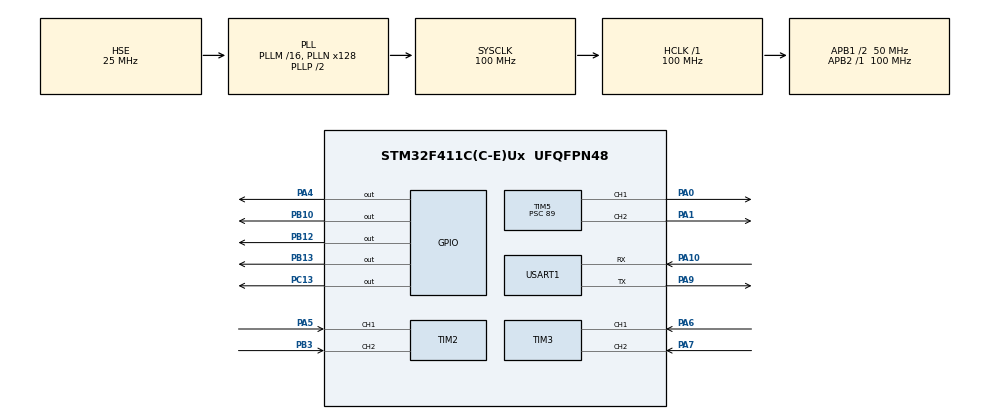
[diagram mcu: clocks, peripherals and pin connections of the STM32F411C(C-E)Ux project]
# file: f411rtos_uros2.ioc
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Dma.Request0=USART1_RX
Dma.Request1=USART1_TX
Dma.USART1_RX.0.Direction=DMA_PERIPH_TO_MEMORY
Dma.USART1_RX.0.FIFOMode=DMA_FIFOMODE_DISABLE
Dma.USART1_RX.0.Instance=DMA2_Stream2
Dma.USART1_RX.0.MemDataAlignment=DMA_MDATAALIGN_BYTE
Dma.USART1_RX.0.MemInc=DMA_MINC_ENABLE
Dma.USART1_RX.0.Mode=DMA_CIRCULAR
Dma.USART1_RX.0.PeriphDataAlignment=DMA_PDATAALIGN_BYTE
Dma.USART1_RX.0.PeriphInc=DMA_PINC_DISABLE
Dma.USART1_RX.0.Priority=DMA_PRIORITY_HIGH
Dma.USART1_TX.1.Direction=DMA_MEMORY_TO_PERIPH
Dma.USART1_TX.1.FIFOMode=DMA_FIFOMODE_DISABLE
Dma.USART1_TX.1.Instance=DMA2_Stream7
Dma.USART1_TX.1.MemDataAlignment=DMA_MDATAALIGN_BYTE
Dma.USART1_TX.1.MemInc=DMA_MINC_ENABLE
Dma.USART1_TX.1.Mode=DMA_NORMAL
Dma.USART1_TX.1.PeriphDataAlignment=DMA_PDATAALIGN_BYTE
Dma.USART1_TX.1.PeriphInc=DMA_PINC_DISABLE
Dma.USART1_TX.1.Priority=DMA_PRIORITY_HIGH
FREERTOS.Tasks01=defaultTask,24,128,StartDefaultTask,Default,NULL,Dynamic,NULL,NULL;rosTask,40,3000,StartRosTask,Default,NULL,Dynamic,NULL,NULL;motorTask,40,384,StartMotorTask,Default,NULL,Dynamic,NULL,NULL
FREERTOS.configUSE_NEWLIB_REENTRANT=1
Mcu.Family=STM32F4
Mcu.Name=STM32F411C(C-E)Ux
Mcu.Package=UFQFPN48
NVIC.DMA2_Stream2_IRQn=true\:5\:0\:false\:false\:true\:true\:false\:true\:true
NVIC.DMA2_Stream7_IRQn=true\:5\:0\:false\:false\:true\:true\:false\:true\:true
NVIC.PriorityGroup=NVIC_PRIORITYGROUP_4
NVIC.TIM1_UP_TIM10_IRQn=true\:15\:0\:false\:false\:true\:false\:false\:true\:true
NVIC.TimeBase=TIM1_UP_TIM10_IRQn
NVIC.TimeBaseIP=TIM1
NVIC.USART1_IRQn=true\:5\:0\:false\:false\:true\:true\:false\:true\:true
PA0-WKUP.Signal=S_TIM5_CH1
PA1.Signal=S_TIM5_CH2
PA10.Mode=Asynchronous
PA10.Signal=USART1_RX
PA13.Mode=Serial_Wire
PA13.Signal=SYS_JTMS-SWDIO
PA14.Mode=Serial_Wire
PA14.Signal=SYS_JTCK-SWCLK
PA4.Signal=GPIO_Output
PA5.Signal=S_TIM2_CH1_ETR
PA6.GPIO_PuPd=GPIO_PULLUP
PA6.Signal=S_TIM3_CH1
PA7.GPIO_PuPd=GPIO_PULLUP
PA7.Signal=S_TIM3_CH2
PA9.Mode=Asynchronous
PA9.Signal=USART1_TX
PB10.Signal=GPIO_Output
PB12.Signal=GPIO_Output
PB13.Signal=GPIO_Output
PB3.Signal=S_TIM2_CH2
PC13-ANTI_TAMP.Signal=GPIO_Output
PH0\ -\ OSC_IN.Mode=HSE-External-Oscillator
PH0\ -\ OSC_IN.Signal=RCC_OSC_IN
PH1\ -\ OSC_OUT.Mode=HSE-External-Oscillator
PH1\ -\ OSC_OUT.Signal=RCC_OSC_OUT
ProjectManager.HeapSize=0x200
ProjectManager.StackSize=0x400
ProjectManager.TargetToolchain=STM32CubeIDE
RCC.48MHZClocksFreq_Value=50000000
RCC.AHBFreq_Value=100000000
RCC.APB1CLKDivider=RCC_HCLK_DIV2
RCC.APB1Freq_Value=50000000
RCC.APB1TimFreq_Value=100000000
RCC.APB2Freq_Value=100000000
RCC.APB2TimFreq_Value=100000000
RCC.CortexFreq_Value=100000000
RCC.HCLKFreq_Value=100000000
RCC.HSE_VALUE=25000000
RCC.HSI_VALUE=16000000
RCC.LSE_VALUE=32768
RCC.PLLN=128
RCC.PLLSourceVirtual=RCC_PLLSOURCE_HSE
RCC.SYSCLKFreq_VALUE=100000000
RCC.SYSCLKSource=RCC_SYSCLKSOURCE_PLLCLK
RCC.VCOOutputFreq_Value=200000000
SH.S_TIM2_CH1_ETR.0=TIM2_CH1,Encoder_Interface
SH.S_TIM2_CH2.0=TIM2_CH2,Encoder_Interface
SH.S_TIM3_CH1.0=TIM3_CH1,Encoder_Interface
SH.S_TIM3_CH2.0=TIM3_CH2,Encoder_Interface
SH.S_TIM5_CH1.0=TIM5_CH1,PWM Generation1 CH1
SH.S_TIM5_CH2.0=TIM5_CH2,PWM Generation2 CH2
TIM2.EncoderMode=TIM_ENCODERMODE_TI12
TIM2.IC1Filter=5
TIM3.EncoderMode=TIM_ENCODERMODE_TI12
TIM3.IC1Filter=5
TIM5.Channel-PWM\ Generation1\ CH1=TIM_CHANNEL_1
TIM5.Channel-PWM\ Generation2\ CH2=TIM_CHANNEL_2
TIM5.OCFastMode_PWM-PWM\ Generation1\ CH1=TIM_OCFAST_ENABLE
TIM5.OCFastMode_PWM-PWM\ Generation2\ CH2=TIM_OCFAST_ENABLE
TIM5.Period=1999
TIM5.Prescaler=89
USART1.VirtualMode=VM_ASYNC
VP_FREERTOS_VS_CMSIS_V2.Mode=CMSIS_V2
VP_SYS_VS_tim1.Mode=TIM1
board=custom

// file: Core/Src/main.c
/* USER CODE BEGIN Header */
/**
  ******************************************************************************
  * @file           : main.c
  * @brief          : Main program body
  ******************************************************************************
  * @attention
  *
  * Copyright (c) 2026 STMicroelectronics.
  * All rights reserved.
  *
  * This software is licensed under terms that can be found in the LICENSE file
  * in the root directory of this software component.
  * If no LICENSE file comes with this software, it is provided AS-IS.
  *
  ******************************************************************************
  */
/* USER CODE END Header */
#include "main.h"
#include "cmsis_os.h"

/* USER CODE BEGIN Includes */

// micro-ros includes
#include <rcl/rcl.h>
#include <rcl/error_handling.h>
#include <rclc/rclc.h>
#include <rclc/executor.h>
#include <uxr/client/transport.h>
#include <rmw_microxrcedds_c/config.h>
#include <rmw_microros/rmw_microros.h>

//#include <rcutils/logging.h>
//#include <rcl/logging.h>

#include <std_msgs/msg/int32.h>
#include <geometry_msgs/msg/twist.h>

#include <std_msgs/msg/string.h>

/* USER CODE END Includes */

/* USER CODE BEGIN PD */

#define WHEEL_RADIUS   0.05f   // m
#define WHEEL_BASE     0.30f   // m
#define MAX_WHEEL_V    1.0f    // m/s

//#define PWM_MAX        1000
//#define PWM_MIN 	   300
#define PWM_MAX   (__HAL_TIM_GET_AUTORELOAD(&htim5))
#define PWM_MIN   (PWM_MAX * 3 / 10)

/* USER CODE END PD */

TIM_HandleTypeDef htim2;
TIM_HandleTypeDef htim3;
TIM_HandleTypeDef htim5;

UART_HandleTypeDef huart1;
DMA_HandleTypeDef hdma_usart1_rx;
DMA_HandleTypeDef hdma_usart1_tx;

/* Definitions for defaultTask */
osThreadId_t defaultTaskHandle;
const osThreadAttr_t defaultTask_attributes = {
  .name = "defaultTask",
  .stack_size = 128 * 4,
  .priority = (osPriority_t) osPriorityNormal,
};
/* Definitions for rosTask */
osThreadId_t rosTaskHandle;
const osThreadAttr_t rosTask_attributes = {
  .name = "rosTask",
  .stack_size = 3000 * 4,
  .priority = (osPriority_t) osPriorityHigh,
};
/* Definitions for motorTask */
osThreadId_t motorTaskHandle;
const osThreadAttr_t motorTask_attributes = {
  .name = "motorTask",
  .stack_size = 384 * 4,
  .priority = (osPriority_t) osPriorityHigh,
};
/* USER CODE BEGIN PV */

// micro-ros node
rcl_node_t node;

// micro-ros publisher
rcl_publisher_t publisher1;
rcl_publisher_t publisher2;
rcl_publisher_t publisher3;

// micro-ros subscriber
rcl_subscription_t cmd_vel_sub;
rclc_executor_t executor;
geometry_msgs__msg__Twist cmd_vel_msg;

static int32_t leticks = 0;
static int32_t reticks = 0;

typedef enum {
    MOTOR_STOP = 0,
    MOTOR_FWD,
    MOTOR_REV
} motor_dir_t;

typedef struct {
    motor_dir_t dir;
    uint16_t pwm;
} motor_cmd_t;

typedef struct {
    float v;   // m/s
    float w;   // rad/s
} cmd_vel_t;

//volatile float v_linear = 0.0f;
//volatile float v_angular = 0.0f;
volatile cmd_vel_t last_cmd_vel = {0};

motor_cmd_t cmdA, cmdB;

/* USER CODE END PV */

void SystemClock_Config(void);
static void MX_GPIO_Init(void);
static void MX_DMA_Init(void);
static void MX_USART1_UART_Init(void);
static void MX_TIM2_Init(void);
static void MX_TIM3_Init(void);
static void MX_TIM5_Init(void);
void StartDefaultTask(void *argument);
void StartRosTask(void *argument);
void StartMotorTask(void *argument);

/* USER CODE BEGIN PFP */

// micro-ros
bool cubemx_transport_open(struct uxrCustomTransport * transport);
bool cubemx_transport_close(struct uxrCustomTransport * transport);
size_t cubemx_transport_write(struct uxrCustomTransport* transport, const uint8_t * buf, size_t len, uint8_t * err);
size_t cubemx_transport_read(struct uxrCustomTransport* transport, uint8_t* buf, size_t len, int timeout, uint8_t* err);

void * microros_allocate(size_t size, void * state);
void microros_deallocate(void * pointer, void * state);
void * microros_reallocate(void * pointer, size_t size, void * state);
void * microros_zero_allocate(size_t number_of_elements, size_t size_of_element, void * state);

// micro-ros subscriber
void cmd_vel_callback(const void * msgin);

// bridge H
void motor_set_A(motor_dir_t dir, uint16_t pwm);
void motor_set_B(motor_dir_t dir, uint16_t pwm);

static inline void cmd_vel_to_wheels(const cmd_vel_t *cv, float *vL, float *vR);
static inline motor_cmd_t wheel_to_motor(float v, int inverted);

/* USER CODE END PFP */

/* USER CODE BEGIN 0 */

__attribute__((noinline)) void cmd_vel_callback(const void * msgin)
{
  const geometry_msgs__msg__Twist * msg = (const geometry_msgs__msg__Twist *)msgin;

  HAL_GPIO_TogglePin(GPIOC, GPIO_PIN_13);

  //cb_count++;

  /*
  v_linear  = msg->linear.x;
  v_angular = msg->angular.z;
  */

  last_cmd_vel.v = msg->linear.x;
  last_cmd_vel.w = msg->angular.z;
}

/* USER CODE END 0 */

int main(void)
{

  /* MCU Configuration--------------------------------------------------------*/

  /* Reset of all peripherals, Initializes the Flash interface and the Systick. */
  HAL_Init();

  /* Configure the system clock */
  SystemClock_Config();

  /* Initialize all configured peripherals */
  MX_GPIO_Init();
  MX_DMA_Init();
  MX_USART1_UART_Init();
  MX_TIM2_Init();
  MX_TIM3_Init();
  MX_TIM5_Init();
  /* USER CODE BEGIN 2 */

  // encoders
  HAL_TIM_Encoder_Start(&htim2, TIM_CHANNEL_ALL);
  HAL_TIM_Encoder_Start(&htim3, TIM_CHANNEL_ALL);

  // PWM motores
  HAL_TIM_PWM_Start(&htim5, TIM_CHANNEL_1);
  HAL_TIM_PWM_Start(&htim5, TIM_CHANNEL_2);

  /* USER CODE END 2 */

  /* Init scheduler */
  osKernelInitialize();

  /* Create the thread(s) */
  /* creation of defaultTask */
  defaultTaskHandle = osThreadNew(StartDefaultTask, NULL, &defaultTask_attributes);

  /* creation of rosTask */
  rosTaskHandle = osThreadNew(StartRosTask, NULL, &rosTask_attributes);

  /* creation of motorTask */
  motorTaskHandle = osThreadNew(StartMotorTask, NULL, &motorTask_attributes);

  /* Start scheduler */
  osKernelStart();

  /* We should never get here as control is now taken by the scheduler */

  /* Infinite loop */
  while (1)
  {

  }
}

void SystemClock_Config(void)
{
  RCC_OscInitTypeDef RCC_OscInitStruct = {0};
  RCC_ClkInitTypeDef RCC_ClkInitStruct = {0};

  /** Configure the main internal regulator output voltage
  */
  __HAL_RCC_PWR_CLK_ENABLE();
  __HAL_PWR_VOLTAGESCALING_CONFIG(PWR_REGULATOR_VOLTAGE_SCALE1);

  /** Initializes the RCC Oscillators according to the specified parameters
  * in the RCC_OscInitTypeDef structure.
  */
  RCC_OscInitStruct.OscillatorType = RCC_OSCILLATORTYPE_HSE;
  RCC_OscInitStruct.HSEState = RCC_HSE_ON;
  RCC_OscInitStruct.PLL.PLLState = RCC_PLL_ON;
  RCC_OscInitStruct.PLL.PLLSource = RCC_PLLSOURCE_HSE;
  RCC_OscInitStruct.PLL.PLLM = 16;
  RCC_OscInitStruct.PLL.PLLN = 128;
  RCC_OscInitStruct.PLL.PLLP = RCC_PLLP_DIV2;
  RCC_OscInitStruct.PLL.PLLQ = 4;
  if (HAL_RCC_OscConfig(&RCC_OscInitStruct) != HAL_OK)
  {
    Error_Handler();
  }

  /** Initializes the CPU, AHB and APB buses clocks
  */
  RCC_ClkInitStruct.ClockType = RCC_CLOCKTYPE_HCLK|RCC_CLOCKTYPE_SYSCLK
                              |RCC_CLOCKTYPE_PCLK1|RCC_CLOCKTYPE_PCLK2;
  RCC_ClkInitStruct.SYSCLKSource = RCC_SYSCLKSOURCE_PLLCLK;
  RCC_ClkInitStruct.AHBCLKDivider = RCC_SYSCLK_DIV1;
  RCC_ClkInitStruct.APB1CLKDivider = RCC_HCLK_DIV2;
  RCC_ClkInitStruct.APB2CLKDivider = RCC_HCLK_DIV1;

  if (HAL_RCC_ClockConfig(&RCC_ClkInitStruct, FLASH_LATENCY_3) != HAL_OK)
  {
    Error_Handler();
  }
}

static void MX_TIM2_Init(void)
{

  TIM_Encoder_InitTypeDef sConfig = {0};
  TIM_MasterConfigTypeDef sMasterConfig = {0};

  htim2.Instance = TIM2;
  htim2.Init.Prescaler = 0;
  htim2.Init.CounterMode = TIM_COUNTERMODE_UP;
  htim2.Init.Period = 4294967295;
  htim2.Init.ClockDivision = TIM_CLOCKDIVISION_DIV1;
  htim2.Init.AutoReloadPreload = TIM_AUTORELOAD_PRELOAD_DISABLE;
  sConfig.EncoderMode = TIM_ENCODERMODE_TI12;
  sConfig.IC1Polarity = TIM_ICPOLARITY_RISING;
  sConfig.IC1Selection = TIM_ICSELECTION_DIRECTTI;
  sConfig.IC1Prescaler = TIM_ICPSC_DIV1;
  sConfig.IC1Filter = 5;
  sConfig.IC2Polarity = TIM_ICPOLARITY_RISING;
  sConfig.IC2Selection = TIM_ICSELECTION_DIRECTTI;
  sConfig.IC2Prescaler = TIM_ICPSC_DIV1;
  sConfig.IC2Filter = 0;
  if (HAL_TIM_Encoder_Init(&htim2, &sConfig) != HAL_OK)
  {
    Error_Handler();
  }
  sMasterConfig.MasterOutputTrigger = TIM_TRGO_RESET;
  sMasterConfig.MasterSlaveMode = TIM_MASTERSLAVEMODE_DISABLE;
  if (HAL_TIMEx_MasterConfigSynchronization(&htim2, &sMasterConfig) != HAL_OK)
  {
    Error_Handler();
  }

}

static void MX_TIM3_Init(void)
{

  TIM_Encoder_InitTypeDef sConfig = {0};
  TIM_MasterConfigTypeDef sMasterConfig = {0};

  htim3.Instance = TIM3;
  htim3.Init.Prescaler = 0;
  htim3.Init.CounterMode = TIM_COUNTERMODE_UP;
  htim3.Init.Period = 65535;
  htim3.Init.ClockDivision = TIM_CLOCKDIVISION_DIV1;
  htim3.Init.AutoReloadPreload = TIM_AUTORELOAD_PRELOAD_DISABLE;
  sConfig.EncoderMode = TIM_ENCODERMODE_TI12;
  sConfig.IC1Polarity = TIM_ICPOLARITY_RISING;
  sConfig.IC1Selection = TIM_ICSELECTION_DIRECTTI;
  sConfig.IC1Prescaler = TIM_ICPSC_DIV1;
  sConfig.IC1Filter = 5;
  sConfig.IC2Polarity = TIM_ICPOLARITY_RISING;
  sConfig.IC2Selection = TIM_ICSELECTION_DIRECTTI;
  sConfig.IC2Prescaler = TIM_ICPSC_DIV1;
  sConfig.IC2Filter = 0;
  if (HAL_TIM_Encoder_Init(&htim3, &sConfig) != HAL_OK)
  {
    Error_Handler();
  }
  sMasterConfig.MasterOutputTrigger = TIM_TRGO_RESET;
  sMasterConfig.MasterSlaveMode = TIM_MASTERSLAVEMODE_DISABLE;
  if (HAL_TIMEx_MasterConfigSynchronization(&htim3, &sMasterConfig) != HAL_OK)
  {
    Error_Handler();
  }

}

static void MX_TIM5_Init(void)
{

  TIM_MasterConfigTypeDef sMasterConfig = {0};
  TIM_OC_InitTypeDef sConfigOC = {0};

  htim5.Instance = TIM5;
  htim5.Init.Prescaler = 89;
  htim5.Init.CounterMode = TIM_COUNTERMODE_UP;
  htim5.Init.Period = 1999;
  htim5.Init.ClockDivision = TIM_CLOCKDIVISION_DIV1;
  htim5.Init.AutoReloadPreload = TIM_AUTORELOAD_PRELOAD_DISABLE;
  if (HAL_TIM_PWM_Init(&htim5) != HAL_OK)
  {
    Error_Handler();
  }
  sMasterConfig.MasterOutputTrigger = TIM_TRGO_RESET;
  sMasterConfig.MasterSlaveMode = TIM_MASTERSLAVEMODE_DISABLE;
  if (HAL_TIMEx_MasterConfigSynchronization(&htim5, &sMasterConfig) != HAL_OK)
  {
    Error_Handler();
  }
  sConfigOC.OCMode = TIM_OCMODE_PWM1;
  sConfigOC.Pulse = 0;
  sConfigOC.OCPolarity = TIM_OCPOLARITY_HIGH;
  sConfigOC.OCFastMode = TIM_OCFAST_ENABLE;
  if (HAL_TIM_PWM_ConfigChannel(&htim5, &sConfigOC, TIM_CHANNEL_1) != HAL_OK)
  {
    Error_Handler();
  }
  if (HAL_TIM_PWM_ConfigChannel(&htim5, &sConfigOC, TIM_CHANNEL_2) != HAL_OK)
  {
    Error_Handler();
  }
  HAL_TIM_MspPostInit(&htim5);

}

static void MX_USART1_UART_Init(void)
{

  huart1.Instance = USART1;
  huart1.Init.BaudRate = 115200;
  huart1.Init.WordLength = UART_WORDLENGTH_8B;
  huart1.Init.StopBits = UART_STOPBITS_1;
  huart1.Init.Parity = UART_PARITY_NONE;
  huart1.Init.Mode = UART_MODE_TX_RX;
  huart1.Init.HwFlowCtl = UART_HWCONTROL_NONE;
  huart1.Init.OverSampling = UART_OVERSAMPLING_16;
  if (HAL_UART_Init(&huart1) != HAL_OK)
  {
    Error_Handler();
  }

}

static void MX_DMA_Init(void)
{

  /* DMA controller clock enable */
  __HAL_RCC_DMA2_CLK_ENABLE();

  /* DMA interrupt init */
  /* DMA2_Stream2_IRQn interrupt configuration */
  HAL_NVIC_SetPriority(DMA2_Stream2_IRQn, 5, 0);
  HAL_NVIC_EnableIRQ(DMA2_Stream2_IRQn);
  /* DMA2_Stream7_IRQn interrupt configuration */
  HAL_NVIC_SetPriority(DMA2_Stream7_IRQn, 5, 0);
  HAL_NVIC_EnableIRQ(DMA2_Stream7_IRQn);

}

static void MX_GPIO_Init(void)
{
  GPIO_InitTypeDef GPIO_InitStruct = {0};

  /* GPIO Ports Clock Enable */
  __HAL_RCC_GPIOC_CLK_ENABLE();
  __HAL_RCC_GPIOH_CLK_ENABLE();
  __HAL_RCC_GPIOA_CLK_ENABLE();
  __HAL_RCC_GPIOB_CLK_ENABLE();

  /*Configure GPIO pin Output Level */
  HAL_GPIO_WritePin(GPIOC, GPIO_PIN_13, GPIO_PIN_RESET);

  /*Configure GPIO pin Output Level */
  HAL_GPIO_WritePin(GPIOA, GPIO_PIN_4, GPIO_PIN_RESET);

  /*Configure GPIO pin Output Level */
  HAL_GPIO_WritePin(GPIOB, GPIO_PIN_10|GPIO_PIN_12|GPIO_PIN_13, GPIO_PIN_RESET);

  /*Configure GPIO pin : PC13 */
  GPIO_InitStruct.Pin = GPIO_PIN_13;
  GPIO_InitStruct.Mode = GPIO_MODE_OUTPUT_PP;
  GPIO_InitStruct.Pull = GPIO_NOPULL;
  GPIO_InitStruct.Speed = GPIO_SPEED_FREQ_LOW;
  HAL_GPIO_Init(GPIOC, &GPIO_InitStruct);

  /*Configure GPIO pin : PA4 */
  GPIO_InitStruct.Pin = GPIO_PIN_4;
  GPIO_InitStruct.Mode = GPIO_MODE_OUTPUT_PP;
  GPIO_InitStruct.Pull = GPIO_NOPULL;
  GPIO_InitStruct.Speed = GPIO_SPEED_FREQ_LOW;
  HAL_GPIO_Init(GPIOA, &GPIO_InitStruct);

  /*Configure GPIO pins : PB10 PB12 PB13 */
  GPIO_InitStruct.Pin = GPIO_PIN_10|GPIO_PIN_12|GPIO_PIN_13;
  GPIO_InitStruct.Mode = GPIO_MODE_OUTPUT_PP;
  GPIO_InitStruct.Pull = GPIO_NOPULL;
  GPIO_InitStruct.Speed = GPIO_SPEED_FREQ_LOW;
  HAL_GPIO_Init(GPIOB, &GPIO_InitStruct);

}

/* USER CODE BEGIN 4 */
void motor_set_A(motor_dir_t dir, uint16_t pwm)
{
    __HAL_TIM_SET_COMPARE(&htim5, TIM_CHANNEL_1, 0);

/*
    RCUTILS_LOG_INFO_NAMED(
      "motor",
      "%ld, %ld",
	  dir,
	  pwm
    );
*/

    if (dir == MOTOR_FWD) {
        HAL_GPIO_WritePin(GPIOA, GPIO_PIN_4, GPIO_PIN_SET);
        HAL_GPIO_WritePin(GPIOB, GPIO_PIN_10, GPIO_PIN_RESET);
    } else if (dir == MOTOR_REV) {
        HAL_GPIO_WritePin(GPIOA, GPIO_PIN_4, GPIO_PIN_RESET);
        HAL_GPIO_WritePin(GPIOB, GPIO_PIN_10, GPIO_PIN_SET);
    } else {
        HAL_GPIO_WritePin(GPIOA, GPIO_PIN_4, GPIO_PIN_RESET);
        HAL_GPIO_WritePin(GPIOB, GPIO_PIN_10, GPIO_PIN_RESET);
    }

    __HAL_TIM_SET_COMPARE(&htim5, TIM_CHANNEL_1, pwm);
}

void motor_set_B(motor_dir_t dir, uint16_t pwm)
{
    __HAL_TIM_SET_COMPARE(&htim5, TIM_CHANNEL_2, 0);

    if (dir == MOTOR_FWD) {
        HAL_GPIO_WritePin(GPIOB, GPIO_PIN_12, GPIO_PIN_SET);
        HAL_GPIO_WritePin(GPIOB, GPIO_PIN_13, GPIO_PIN_RESET);
    } else if (dir == MOTOR_REV) {
        HAL_GPIO_WritePin(GPIOB, GPIO_PIN_12, GPIO_PIN_RESET);
        HAL_GPIO_WritePin(GPIOB, GPIO_PIN_13, GPIO_PIN_SET);
    } else {
        HAL_GPIO_WritePin(GPIOB, GPIO_PIN_12, GPIO_PIN_RESET);
        HAL_GPIO_WritePin(GPIOB, GPIO_PIN_13, GPIO_PIN_RESET);
    }

    __HAL_TIM_SET_COMPARE(&htim5, TIM_CHANNEL_2, pwm);
}

static inline void cmd_vel_to_wheels(const cmd_vel_t *cv, float *vL, float *vR)
{
    *vL = cv->v - 0.5f * WHEEL_BASE * cv->w;
    *vR = cv->v + 0.5f * WHEEL_BASE * cv->w;
}

static inline motor_cmd_t wheel_to_motor(float v, int inverted)
{
    motor_cmd_t cmd;

    // handle mirror motors
    if (inverted) {
        v = -v;
    }

    if (v > 0.0f) {
        cmd.dir = MOTOR_FWD;
    } else if (v < 0.0f) {
        cmd.dir = MOTOR_REV;
        v = -v;
    } else {
        cmd.dir = MOTOR_STOP;
        cmd.pwm = 0;
        return cmd;
    }

    if (v > MAX_WHEEL_V)
        v = MAX_WHEEL_V;

    //cmd.pwm = (uint16_t)((v / MAX_WHEEL_V) * PWM_MAX);
    cmd.pwm = PWM_MIN + (uint16_t)((v / MAX_WHEEL_V) * (PWM_MAX - PWM_MIN));

    return cmd;
}

/* USER CODE END 4 */

void StartDefaultTask(void *argument)
{
  for(;;)
  {
    osDelay(1);
  }
}

void StartRosTask(void *argument)
{
  /* USER CODE BEGIN StartRosTask */
  int32_t msg_counter = 0;

  //std_msgs__msg__Int32 msg;

  std_msgs__msg__String msg;
  std_msgs__msg__String__init(&msg);

  std_msgs__msg__Int32 letickmsg;
  std_msgs__msg__Int32 retickmsg;

  rclc_support_t support;
  rcl_allocator_t allocator;

  /*
  static bool initialized = false;
  if (initialized) vTaskDelete(NULL);
  initialized = true;
  */
  osDelay(1000);

  rmw_uros_set_custom_transport(
	true,
	(void *) &huart1,
	cubemx_transport_open,
	cubemx_transport_close,
	cubemx_transport_write,
	cubemx_transport_read);

  /*
  while (rmw_uros_ping_agent(1000, 1) != RMW_RET_OK)
  {
	osDelay(1000);
  }
  */

  //rmw_uros_sync_session(1000);

  /*
  rcl_allocator_t freeRTOS_allocator = rcutils_get_zero_initialized_allocator();
  freeRTOS_allocator.allocate = microros_allocate;
  freeRTOS_allocator.deallocate = microros_deallocate;
  freeRTOS_allocator.reallocate = microros_reallocate;
  freeRTOS_allocator.zero_allocate =  microros_zero_allocate;

  if (!rcutils_set_default_allocator(&freeRTOS_allocator)) {
	  printf("Error on default allocators (line %d)\n", __LINE__);
  }
  */

  // micro-ROS app

  //rcutils_logging_initialize();
  //rcutils_logging_set_logger_level("motor", RCUTILS_LOG_SEVERITY_INFO);

  allocator = rcl_get_default_allocator();

  // create init_options
  rclc_support_init(&support, 0, NULL, &allocator);

  // create node
  rclc_node_init_default(&node, "stm32f4_node2", "", &support);

  //rclc_logging_rosout_init(&node);
/*
  rclc_logging_rosout_init_with_allocator(
      &node,
      rcl_get_default_allocator()
  );
*/

  // create publishers
  rclc_publisher_init_default(
	&publisher1,
	&node,
	ROSIDL_GET_MSG_TYPE_SUPPORT(std_msgs, msg, Int32),
	"leticks");

  rclc_publisher_init_default(
	&publisher2,
	&node,
	ROSIDL_GET_MSG_TYPE_SUPPORT(std_msgs, msg, Int32),
	"reticks");

  rclc_publisher_init_default(
	&publisher3,
	&node,
	ROSIDL_GET_MSG_TYPE_SUPPORT(std_msgs, msg, String),
	"log");

  msg_counter =0;

  // create subscriber
  geometry_msgs__msg__Twist__init(&cmd_vel_msg);

  rclc_subscription_init_default(
	&cmd_vel_sub,
	&node,
	ROSIDL_GET_MSG_TYPE_SUPPORT(geometry_msgs, msg, Twist),
	"/cmd_vel"
  );

  // micro-ros subscriber executor
  rclc_executor_init(&executor, &support.context, 1, &allocator);

  rclc_executor_add_subscription(
	&executor,
	&cmd_vel_sub,
	&cmd_vel_msg,
	&cmd_vel_callback,
	ON_NEW_DATA
  );

  rcl_ret_t ret;
  // infinite loop
  for(;;)
  {
	// publisher
	//msg.data=leticks;
	letickmsg.data=leticks;
	retickmsg.data=reticks;
	if ((msg_counter % 100) == 0)
	{
		ret = rcl_publish(&publisher1, &letickmsg, NULL);
		if (ret != RCL_RET_OK)
		{
			printf("Error publishing1 (line %d)\n", __LINE__);
		}

		ret = rcl_publish(&publisher2, &retickmsg, NULL);
		if (ret != RCL_RET_OK)
		{
			printf("Error publishing2 (line %d)\n", __LINE__);
		}

		static char buf[64];
		snprintf(buf, sizeof(buf), "%u %u", cmdA.pwm, cmdB.pwm);

		msg.data.data = buf;
		msg.data.size = strlen(buf);
		msg.data.capacity = sizeof(buf);

		rcl_publish(&publisher3, &msg, NULL);

	}
	msg_counter++;

	// spin (subscribers run on spin?)
	rclc_executor_spin_some(&executor, RCL_MS_TO_NS(5));
	osDelay(1);

  }
  /* USER CODE END StartRosTask */
}

void StartMotorTask(void *argument)
{
  /* USER CODE BEGIN StartMotorTask */

  TickType_t last_wake = xTaskGetTickCount();
  const TickType_t period = pdMS_TO_TICKS(10); // 100 Hz

  static int16_t last_l = 0, last_r = 0;

  // motors
  cmd_vel_t cv;
  float vL, vR;
  //motor_cmd_t cmdA, cmdB;

  /* Infinite loop */
  for(;;)
  {
	int16_t now_l = (int16_t)__HAL_TIM_GET_COUNTER(&htim2);
	int16_t now_r = (int16_t)__HAL_TIM_GET_COUNTER(&htim3);

	int16_t dl = now_l - last_l;
	int16_t dr = now_r - last_r;

    last_l = now_l;
    last_r = now_r;

	leticks += (int32_t)dl;
	reticks += (int32_t)dr;

	// cálculo de velocidade / PID / publicação

    //  CMD_VEL (MINIMAL)
    cv.v = last_cmd_vel.v;
    cv.w = last_cmd_vel.w;

    // cmd_vel > velocidades das rodas
    cmd_vel_to_wheels(&cv, &vL, &vR);

    // velocidades > comandos de motor
    cmdA = wheel_to_motor(vL, 1);
    cmdB = wheel_to_motor(vR, 0);

    // APLICAR MOTORES
    motor_set_A(cmdA.dir, cmdA.pwm);
    motor_set_B(cmdB.dir, cmdB.pwm);

    //osDelay(10);
	vTaskDelayUntil(&last_wake, period);
  }
  /* USER CODE END StartMotorTask */
}

void HAL_TIM_PeriodElapsedCallback(TIM_HandleTypeDef *htim)
{
  if (htim->Instance == TIM1)
  {
    HAL_IncTick();
  }
}

void Error_Handler(void)
{
  __disable_irq();
  while (1)
  {
  }
}
